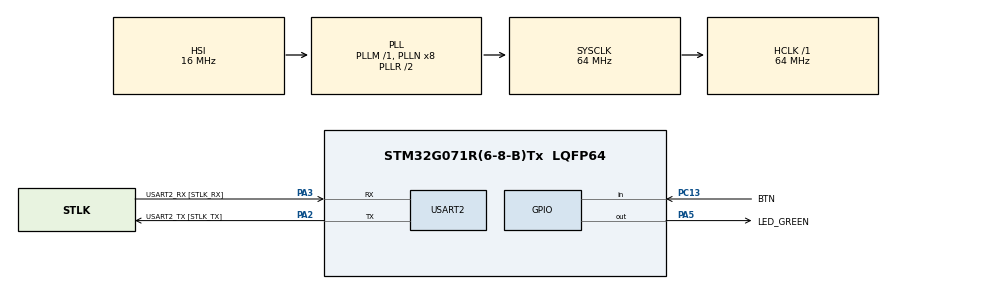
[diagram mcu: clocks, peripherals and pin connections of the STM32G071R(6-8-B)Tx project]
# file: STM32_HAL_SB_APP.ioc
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Mcu.Family=STM32G0
Mcu.Name=STM32G071R(6-8-B)Tx
Mcu.Package=LQFP64
PA13.GPIO_Label=TMS
PA13.Mode=Serial_Wire
PA13.Signal=SYS_SWDIO
PA14-BOOT0.GPIO_Label=TCK
PA14-BOOT0.Mode=Serial_Wire
PA14-BOOT0.Signal=SYS_SWCLK
PA2.GPIO_Label=USART2_TX [STLK_TX]
PA2.GPIO_PuPd=GPIO_PULLUP
PA2.Mode=Asynchronous
PA2.Signal=USART2_TX
PA3.GPIO_Label=USART2_RX [STLK_RX]
PA3.GPIO_PuPd=GPIO_PULLUP
PA3.Mode=Asynchronous
PA3.Signal=USART2_RX
PA5.GPIO_Label=LED_GREEN
PA5.GPIO_Speed=GPIO_SPEED_FREQ_HIGH
PA5.Signal=GPIO_Output
PC13.GPIO_Label=BTN
PC13.Signal=GPIO_Input
PC14-OSC32_IN\ (PC14).Mode=LSE-External-Oscillator
PC14-OSC32_IN\ (PC14).Signal=RCC_OSC32_IN
PC15-OSC32_OUT\ (PC15).Mode=LSE-External-Oscillator
PC15-OSC32_OUT\ (PC15).Signal=RCC_OSC32_OUT
PF0-OSC_IN\ (PF0).GPIO_Label=MCO
PF0-OSC_IN\ (PF0).Mode=HSE-External-Clock-Source
PF0-OSC_IN\ (PF0).Signal=RCC_OSC_IN
ProjectManager.HeapSize=0x200
ProjectManager.StackSize=0x400
ProjectManager.TargetToolchain=STM32CubeIDE
RCC.ADCFreq_Value=64000000
RCC.AHBFreq_Value=64000000
RCC.CortexFreq_Value=64000000
RCC.EXTERNAL_CLOCK_VALUE=12288000
RCC.HCLKFreq_Value=64000000
RCC.HSE_VALUE=8000000
RCC.HSI_VALUE=16000000
RCC.SYSCLKFreq_VALUE=64000000
RCC.SYSCLKSource=RCC_SYSCLKSOURCE_PLLCLK
RCC.VCOOutputFreq_Value=128000000
USART2.VirtualMode-Asynchronous=VM_ASYNC
board=NUCLEO-G071RB

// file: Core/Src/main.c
/* USER CODE BEGIN Header */
/**
 ******************************************************************************
 * @file           : main.c
 * @brief          : Main program body
 ******************************************************************************
 * @attention
 *
 * Copyright (c) 2022 STMicroelectronics.
 * All rights reserved.
 *
 * This software is licensed under terms that can be found in the LICENSE file
 * in the root directory of this software component.
 * If no LICENSE file comes with this software, it is provided AS-IS.
 *
 ******************************************************************************
 */
/* USER CODE END Header */
#include "main.h"
#include "usart.h"
#include "gpio.h"

/* USER CODE BEGIN Includes */
#include <stdio.h>
/* USER CODE END Includes */

void SystemClock_Config(void);

/* USER CODE BEGIN 0 */
void AppRun(void);
void AppHandleMenu(void);
void AppPrintMenu(void);
void AppReadSecureMem(void);

int __io_putchar (int ch)
{
  HAL_UART_Transmit(&huart2, (uint8_t*)&ch, 1, HAL_MAX_DELAY);
  return ch;
}

void AppRun(void)
{
  AppHandleMenu();

  while(1)
  {
    HAL_GPIO_TogglePin(LED_GREEN_GPIO_Port, LED_GREEN_Pin);
    HAL_Delay(100);
  }
}

void AppHandleMenu(void)
{
  uint8_t key = 0U;
  uint8_t exit = 0U;

  AppPrintMenu();

  while(exit == 0U)
  {
    __HAL_UART_FLUSH_DRREGISTER(&huart2);
    HAL_UART_Receive(&huart2, &key, 1U, HAL_MAX_DELAY);

    switch (key)
    {
    case '1' :
      AppReadSecureMem();
      break;
    case 'x' :
      exit = 1U;
      break;
    default:
      printf("Invalid key!\r\n");
      break;
    }

    AppPrintMenu();
  }
}

void AppPrintMenu(void)
{
  printf("\r\n\r\n");
  printf("=================== Test Menu ===========================\r\n");
  printf("Test Protection: Read Secure Memory ------------------- 1\r\n");
  printf("Exit Menu & Toggle LED -------------------------------- x\r\n");
  printf("=========================================================\r\n");
}

void AppReadSecureMem(void)
{
  FLASH_OBProgramInitTypeDef flash_option_bytes;

  HAL_FLASH_Unlock();
  __HAL_FLASH_CLEAR_FLAG(FLASH_FLAG_OPTVERR);
  HAL_FLASH_OB_Unlock();

  HAL_FLASHEx_OBGetConfig(&flash_option_bytes);

  HAL_FLASH_OB_Lock();
  HAL_FLASH_Lock();

  volatile uint32_t *pdata[] = {(uint32_t*)0x08000000, (uint32_t*)0x08009FFF};

  printf("\r\n\r\n");
  printf("=========== Test Protection: Secure User Memory ============\r\n");
  printf("Secure User Area size config [0x%08lx]\r\n", (flash_option_bytes.SecSize * FLASH_PAGE_SIZE) + FLASH_BASE);
  printf("Flash CR SEC_PROT bit value: 0x%lu\r\n", (FLASH->CR & 0x10000000)>>28);
  printf("Reading from address [0x%08lx], [0x%08lx]\r\n", (uint32_t)pdata[0], (uint32_t)pdata[1]);
  printf("[0x%08lx] [0x%08lx]\r\n", *pdata[0], *pdata[1]);
  printf("============================================================\r\n");
}
/* USER CODE END 0 */

int main(void)
{

  /* MCU Configuration--------------------------------------------------------*/

  /* Reset of all peripherals, Initializes the Flash interface and the Systick. */
  HAL_Init();

  /* Configure the system clock */
  SystemClock_Config();

  /* Initialize all configured peripherals */
  MX_GPIO_Init();
  MX_USART2_UART_Init();
  /* USER CODE BEGIN 2 */

  AppRun();

  /* USER CODE END 2 */

  /* Infinite loop */
  while (1)
  {

  }
}

void SystemClock_Config(void)
{
  RCC_OscInitTypeDef RCC_OscInitStruct = {0};
  RCC_ClkInitTypeDef RCC_ClkInitStruct = {0};

  /** Configure the main internal regulator output voltage
   */
  HAL_PWREx_ControlVoltageScaling(PWR_REGULATOR_VOLTAGE_SCALE1);

  /** Initializes the RCC Oscillators according to the specified parameters
   * in the RCC_OscInitTypeDef structure.
   */
  RCC_OscInitStruct.OscillatorType = RCC_OSCILLATORTYPE_HSI;
  RCC_OscInitStruct.HSIState = RCC_HSI_ON;
  RCC_OscInitStruct.HSIDiv = RCC_HSI_DIV1;
  RCC_OscInitStruct.HSICalibrationValue = RCC_HSICALIBRATION_DEFAULT;
  RCC_OscInitStruct.PLL.PLLState = RCC_PLL_ON;
  RCC_OscInitStruct.PLL.PLLSource = RCC_PLLSOURCE_HSI;
  RCC_OscInitStruct.PLL.PLLM = RCC_PLLM_DIV1;
  RCC_OscInitStruct.PLL.PLLN = 8;
  RCC_OscInitStruct.PLL.PLLP = RCC_PLLP_DIV2;
  RCC_OscInitStruct.PLL.PLLQ = RCC_PLLQ_DIV2;
  RCC_OscInitStruct.PLL.PLLR = RCC_PLLR_DIV2;
  if (HAL_RCC_OscConfig(&RCC_OscInitStruct) != HAL_OK)
  {
    Error_Handler();
  }

  /** Initializes the CPU, AHB and APB buses clocks
   */
  RCC_ClkInitStruct.ClockType = RCC_CLOCKTYPE_HCLK|RCC_CLOCKTYPE_SYSCLK
      |RCC_CLOCKTYPE_PCLK1;
  RCC_ClkInitStruct.SYSCLKSource = RCC_SYSCLKSOURCE_PLLCLK;
  RCC_ClkInitStruct.AHBCLKDivider = RCC_SYSCLK_DIV1;
  RCC_ClkInitStruct.APB1CLKDivider = RCC_HCLK_DIV1;

  if (HAL_RCC_ClockConfig(&RCC_ClkInitStruct, FLASH_LATENCY_2) != HAL_OK)
  {
    Error_Handler();
  }
}

void Error_Handler(void)
{
  __disable_irq();
  while (1)
  {
  }
}
